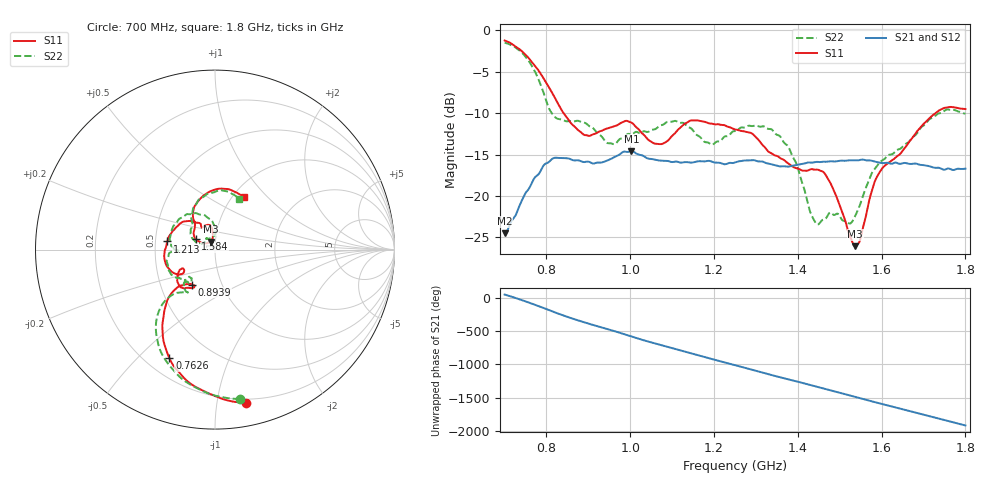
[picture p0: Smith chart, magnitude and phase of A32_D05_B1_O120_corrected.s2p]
! Created with skrf 1.9.0 (http://scikit-rf.org).
# Hz S RI R 50.0
!freq ReS11 ImS11 ReS21 ImS21 ReS12 ImS12 ReS22 ImS22
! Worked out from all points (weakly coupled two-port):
!   1601 points, 700 MHz to 1.8 GHz, reference 50 ohm
!   highest |S21| = -14.59 dB at 1.002 GHz (marker M1); lowest = -24.5 dB at 700 MHz (marker M2)
!   lowest |S11| = -26.1 dB at 1.537 GHz (marker M3), VSWR 1.10, Z = 47.6 + j4.19 ohm
!   |S11| at or under -10 dB: 840.7 MHz to 1.728 GHz (887.4 MHz wide, 69.1 % of centre)
!   |S22| runs from -23.5 to -1.5 dB; largest |S21 - S12| = 0.0034
!   S11 on the Smith chart (normalised r, x): 700 MHz: 0.17, -1.21; 762.6 MHz: 0.29, -0.62; 893.9 MHz: 0.72, -0.30; 1.213 GHz: 0.58, +0.06; 1.584 GHz: 0.80, +0.09; 1.8 GHz: 1.12, +0.74
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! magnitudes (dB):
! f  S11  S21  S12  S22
! 700 MHz  -1.2  -24.5  -24.3  -1.5
! 762.6 MHz  -3.7  -18.7  -18.7  -4.1
! 817.6 MHz  -7.9  -15.4  -15.5  -10.3
! 883.6 MHz  -12.4  -15.8  -15.7  -11.1
! 893.9 MHz  -12.6  -15.9  -16.0  -11.2
! 947.5 MHz  -11.8  -15.7  -15.7  -13.6
! 1.002 GHz  -11.1  -14.6  -14.7  -12.6
! 1.067 GHz  -13.7  -15.7  -15.7  -11.6
! 1.143 GHz  -10.9  -16.0  -16.0  -11.8
! 1.213 GHz  -11.4  -16.0  -16.0  -13.4
! 1.25 GHz  -12.0  -16.0  -15.9  -12.2
! 1.358 GHz  -15.4  -16.4  -16.4  -12.8
! 1.396 GHz  -16.6  -16.3  -16.3  -16.0
! 1.434 GHz  -16.8  -16.0  -15.9  -22.4
! 1.448 GHz  -16.8  -15.9  -15.9  -23.5
! 1.473 GHz  -18.1  -15.8  -15.8  -22.2
! 1.537 GHz  -26.1  -15.7  -15.7  -22.5
! 1.55 GHz  -25.1  -15.6  -15.7  -20.9
! 1.584 GHz  -18.2  -15.9  -15.9  -16.7
! 1.617 GHz  -16.0  -16.0  -16.0  -15.0
! 1.733 GHz  -9.8  -16.6  -16.6  -10.1
! 1.8 GHz  -9.5  -16.7  -16.7  -10.1
